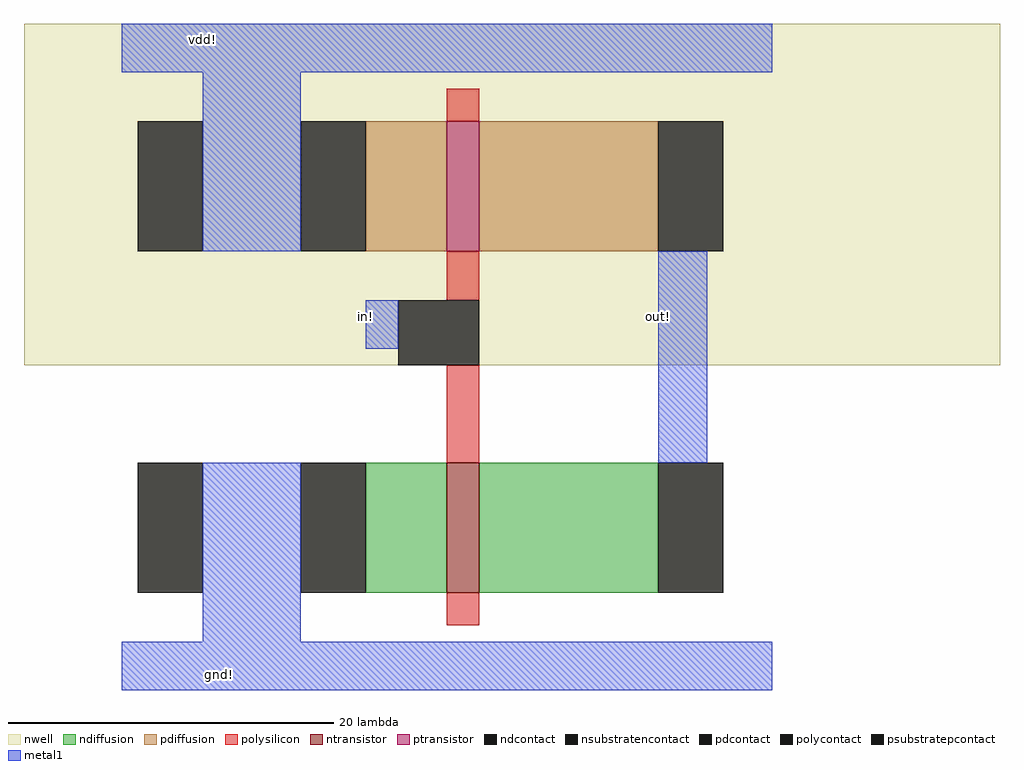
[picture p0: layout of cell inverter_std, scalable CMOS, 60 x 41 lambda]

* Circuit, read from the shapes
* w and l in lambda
.subckt inverter_std gnd! in! out! vdd!
M1 out! in! gnd! gnd! nfet w=8 l=2
M2 out! in! vdd! vdd! pfet w=8 l=2
.ends

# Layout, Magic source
magic
tech scmos
<< nwell >>
rect -26 1 34 22
<< ntransistor >>
rect 0 -13 2 -5
<< ptransistor >>
rect 0 8 2 16
<< ndiffusion >>
rect -5 -13 0 -5
rect 2 -13 13 -5
<< pdiffusion >>
rect -5 8 0 16
rect 2 8 13 16
<< ndcontact >>
rect -9 -13 -5 -5
rect 13 -13 17 -5
<< pdcontact >>
rect -9 8 -5 16
rect 13 8 17 16
<< psubstratepcontact >>
rect -19 -13 -15 -5
<< nsubstratencontact >>
rect -19 8 -15 16
<< polysilicon >>
rect 0 16 2 18
rect 0 5 2 8
rect 0 -5 2 1
rect 0 -15 2 -13
<< polycontact >>
rect -3 1 2 5
<< metal1 >>
rect -20 19 20 22
rect -15 8 -9 19
rect -5 2 -3 5
rect 13 -5 16 8
rect -15 -16 -9 -5
rect -20 -19 20 -16
<< labels >>
rlabel metal1 -15 21 -15 21 5 vdd!
rlabel metal1 -14 -18 -14 -18 1 gnd!
rlabel metal1 -5 4 -5 4 1 in!
rlabel metal1 13 4 13 4 1 out!
<< end >>
